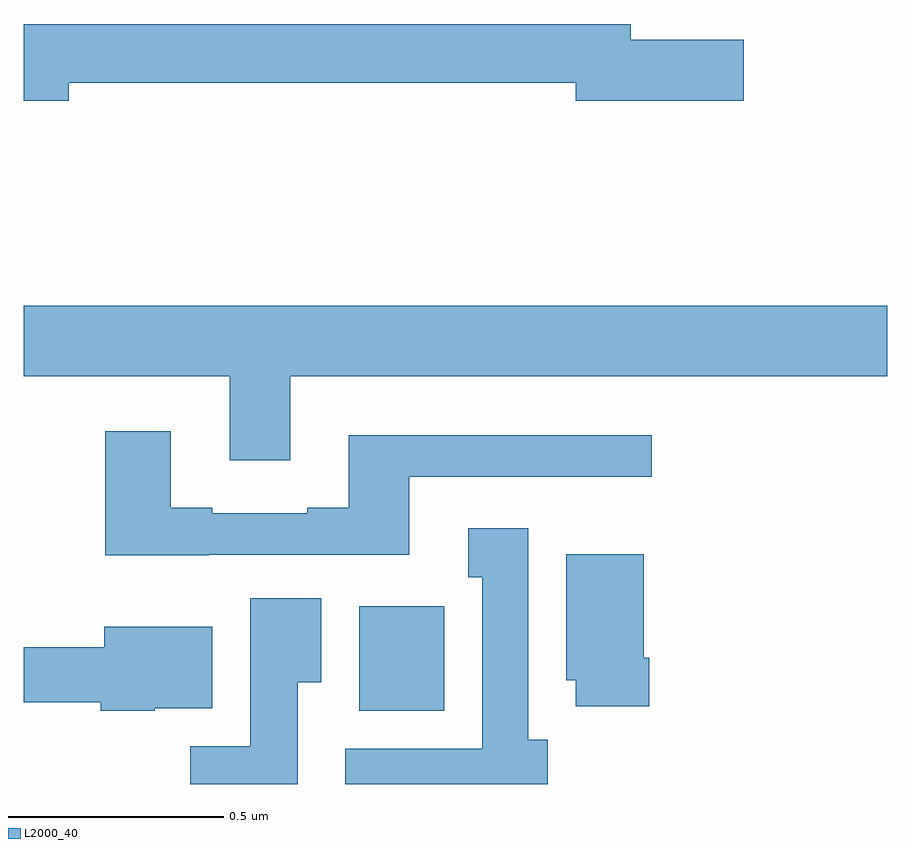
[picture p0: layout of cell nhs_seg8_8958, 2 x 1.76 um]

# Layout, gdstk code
import gdstk
lib = gdstk.Library(unit=1e-6, precision=1e-09)
def R(c, l, rs):  # rectangles x0, y0, x1, y1
    for r in rs: c.add(gdstk.rectangle(r[:2], r[2:], *l))
def P(c, l, *ps):  # polygons
    for p in ps: c.add(gdstk.Polygon(p, *l))
L2000_40 = (2000, 40)

nhs_seg8_8958 = lib.new_cell('nhs_seg8_8958')
R(nhs_seg8_8958, L2000_40, [(230.777,1105.07,230.974,1105.312)])
P(nhs_seg8_8958, L2000_40, [(230.104,1106.524),(231.278,1106.524),(231.278,1106.482),(231.667,1106.482),(231.667,1106.624),(231.406,1106.624),(231.406,1106.66),(230,1106.66),(230,1106.482),(230.104,1106.482)],
  [(230.617,1105.844),(232,1105.844),(232,1106.008),(230,1106.008),(230,1105.844),(230.477,1105.844),(230.477,1105.65),(230.617,1105.65)],
  [(230.429,1105.431),(230.893,1105.431),(230.893,1105.611),(231.454,1105.611),(231.454,1105.708),(230.753,1105.708),(230.753,1105.54),(230.657,1105.54),(230.657,1105.527),(230.437,1105.527),(230.437,1105.54),(230.341,1105.54),(230.341,1105.717),(230.189,1105.717),(230.189,1105.43),(230.429,1105.43)],
  [(231.214,1105.002),(231.169,1105.002),(231.169,1105.492),(231.029,1105.492),(231.029,1105.379),(231.062,1105.379),(231.062,1104.982),(230.745,1104.982),(230.745,1104.9),(231.214,1104.9)],
  [(231.449,1105.192),(231.436,1105.192),(231.436,1105.432),(231.257,1105.432),(231.257,1105.14),(231.278,1105.14),(231.278,1105.08),(231.449,1105.08)],
  [(230.635,1105.136),(230.689,1105.136),(230.689,1105.33),(230.525,1105.33),(230.525,1104.988),(230.386,1104.988),(230.386,1104.9),(230.635,1104.9)],
  [(230.304,1105.076),(230.437,1105.076),(230.437,1105.264),(230.186,1105.264),(230.186,1105.217),(230,1105.217),(230,1105.089),(230.179,1105.089),(230.179,1105.07),(230.304,1105.07)])

lib.write_gds('nhs_seg8_8958.gds')
